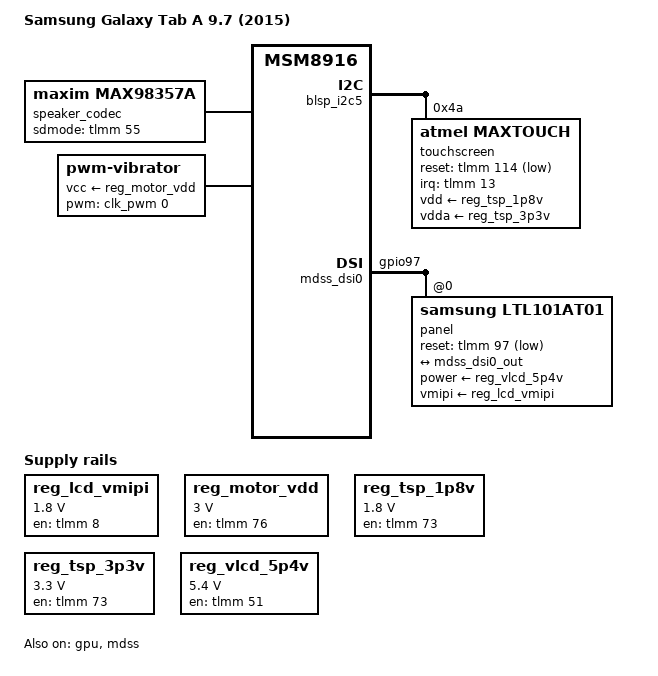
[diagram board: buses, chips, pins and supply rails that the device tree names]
// SPDX-License-Identifier: GPL-2.0-only

/dts-v1/;

#include "msm8916-samsung-gt5-common.dtsi"

/ {
	model = "Samsung Galaxy Tab A 9.7 (2015)";
	compatible = "samsung,gt510", "qcom,msm8916";
	chassis-type = "tablet";

	chosen {
		framebuffer@8e000000 {
			compatible = "simple-framebuffer";
			memory-region = <&cont_splash_mem>;
			width = <768>;
			height = <1024>;
			stride = <(768 * 3)>;
			format = "r8g8b8";

			clocks = <&gcc GCC_MDSS_AHB_CLK>,
				 <&gcc GCC_MDSS_AXI_CLK>,
				 <&gcc GCC_MDSS_VSYNC_CLK>,
				 <&gcc GCC_MDSS_MDP_CLK>,
				 <&gcc GCC_MDSS_BYTE0_CLK>,
				 <&gcc GCC_MDSS_PCLK0_CLK>,
				 <&gcc GCC_MDSS_ESC0_CLK>;

			power-domains = <&gcc MDSS_GDSC>;

			power-supply = <&reg_vlcd_5p4v>;
			vmipi-supply = <&reg_lcd_vmipi>;
		};
	};

	reserved-memory {
		#address-cells = <2>;
		#size-cells = <2>;
		ranges;

		cont_splash_mem: framebuffer@8e000000 {
			reg = <0x0 0x8e000000 0x0 (1024 * 768 * 3)>;
			no-map;
		};
	};

	speaker_codec: audio-codec {
		compatible = "maxim,max98357a";
		sdmode-gpios = <&tlmm 55 GPIO_ACTIVE_HIGH>;
		#sound-dai-cells = <0>;
		pinctrl-0 = <&audio_sdmode_default>;
		pinctrl-names = "default";
	};

	clk_pwm: pwm {
		compatible = "clk-pwm";
		#pwm-cells = <2>;

		clocks = <&gcc GCC_GP2_CLK>;

		pinctrl-0 = <&motor_pwm_default>;
		pinctrl-names = "default";
	};

	reg_lcd_vmipi: regulator-lcd-vmipi {
		compatible = "regulator-fixed";
		regulator-name = "lcd_vmipi";
		regulator-min-microvolt = <1800000>;
		regulator-max-microvolt = <1800000>;

		gpio = <&tlmm 8 GPIO_ACTIVE_HIGH>;
		enable-active-high;

		pinctrl-0 = <&lcd_en_default>;
		pinctrl-names = "default";
	};

	reg_motor_vdd: regulator-motor-vdd {
		compatible = "regulator-fixed";
		regulator-name = "motor_vdd";
		regulator-min-microvolt = <3000000>;
		regulator-max-microvolt = <3000000>;

		gpio = <&tlmm 76 GPIO_ACTIVE_HIGH>;
		enable-active-high;

		pinctrl-0 = <&motor_en_default>;
		pinctrl-names = "default";
	};

	reg_tsp_1p8v: regulator-tsp-1p8v {
		compatible = "regulator-fixed";
		regulator-name = "tsp_1p8v";
		regulator-min-microvolt = <1800000>;
		regulator-max-microvolt = <1800000>;

		gpio = <&tlmm 73 GPIO_ACTIVE_HIGH>;
		enable-active-high;

		pinctrl-0 = <&tsp_en_default>;
		pinctrl-names = "default";
	};

	reg_tsp_3p3v: regulator-tsp-3p3v {
		compatible = "regulator-fixed";
		regulator-name = "tsp_3p3v";
		regulator-min-microvolt = <3300000>;
		regulator-max-microvolt = <3300000>;

		gpio = <&tlmm 73 GPIO_ACTIVE_HIGH>;
		enable-active-high;
	};

	reg_vlcd_5p4v: regulator-vlcd-5p4v {
		compatible = "regulator-fixed";
		regulator-name = "vlcd_5p4v";
		regulator-min-microvolt = <5400000>;
		regulator-max-microvolt = <5400000>;

		gpio = <&tlmm 51 GPIO_ACTIVE_HIGH>;
		enable-active-high;

		pinctrl-0 = <&buckbooster_en_default>;
		pinctrl-names = "default";
	};

	vibrator {
		compatible = "pwm-vibrator";

		pwms = <&clk_pwm 0 100000>;
		pwm-names = "enable";

		vcc-supply = <&reg_motor_vdd>;
	};
};

&blsp_i2c5 {
	status = "okay";

	touchscreen@4a {
		compatible = "atmel,maxtouch";
		reg = <0x4a>;
		interrupt-parent = <&tlmm>;
		interrupts = <13 IRQ_TYPE_LEVEL_LOW>;

		vdd-supply = <&reg_tsp_1p8v>;
		vdda-supply = <&reg_tsp_3p3v>;

		reset-gpios = <&tlmm 114 GPIO_ACTIVE_LOW>;

		pinctrl-0 = <&tsp_int_rst_default>;
		pinctrl-names = "default";

		linux,keycodes = <KEY_APPSELECT KEY_BACK>;
	};
};

&gpu {
	status = "okay";
};

&mdss {
	status = "okay";
};

&mdss_dsi0 {
	pinctrl-0 = <&mdss_default>;
	pinctrl-1 = <&mdss_sleep>;
	pinctrl-names = "default", "sleep";

	panel@0 {
		compatible = "samsung,ltl101at01", "samsung,s6d7aa0";
		reg = <0>;

		power-supply = <&reg_vlcd_5p4v>;
		vmipi-supply = <&reg_lcd_vmipi>;
		reset-gpios = <&tlmm 97 GPIO_ACTIVE_LOW>;

		port {
			panel_in: endpoint {
				remote-endpoint = <&mdss_dsi0_out>;
			};
		};
	};
};

&mdss_dsi0_out {
	data-lanes = <0 1 2 3>;
	remote-endpoint = <&panel_in>;
};

&sound {
	model = "samsung-gt510";
	pinctrl-0 = <&cdc_pdm_default &sec_mi2s_default>;
	pinctrl-1 = <&cdc_pdm_sleep &sec_mi2s_sleep>;
	pinctrl-names = "default", "sleep";
};

&tlmm {
	audio_sdmode_default: audio-sdmode-default-state {
		pins = "gpio55";
		function = "gpio";
		drive-strength = <2>;
		bias-disable;
	};

	buckbooster_en_default: buckbooster-en-default-state {
		pins = "gpio51";
		function = "gpio";
		drive-strength = <2>;
		bias-disable;
	};

	motor_en_default: motor-en-default-state {
		pins = "gpio76";
		function = "gpio";
		drive-strength = <2>;
		bias-disable;
	};

	motor_pwm_default: motor-pwm-default-state {
		pins = "gpio50";
		function = "gcc_gp2_clk_a";
	};

	lcd_en_default: lcd-en-default-state {
		pins = "gpio8";
		function = "gpio";
		drive-strength = <2>;
		bias-disable;
	};

	mdss_default: mdss-default-state {
		pins = "gpio97";
		function = "gpio";
		drive-strength = <8>;
		bias-disable;
	};

	mdss_sleep: mdss-sleep-state {
		pins = "gpio97";
		function = "gpio";
		drive-strength = <2>;
		bias-pull-down;
	};

	tsp_en_default: tsp-en-default-state {
		pins = "gpio73";
		function = "gpio";
		drive-strength = <2>;
		bias-disable;
	};

	tsp_int_rst_default: tsp-int-rst-default-state {
		pins = "gpio13", "gpio114";
		function = "gpio";
		drive-strength = <2>;
		bias-disable;
	};
};
